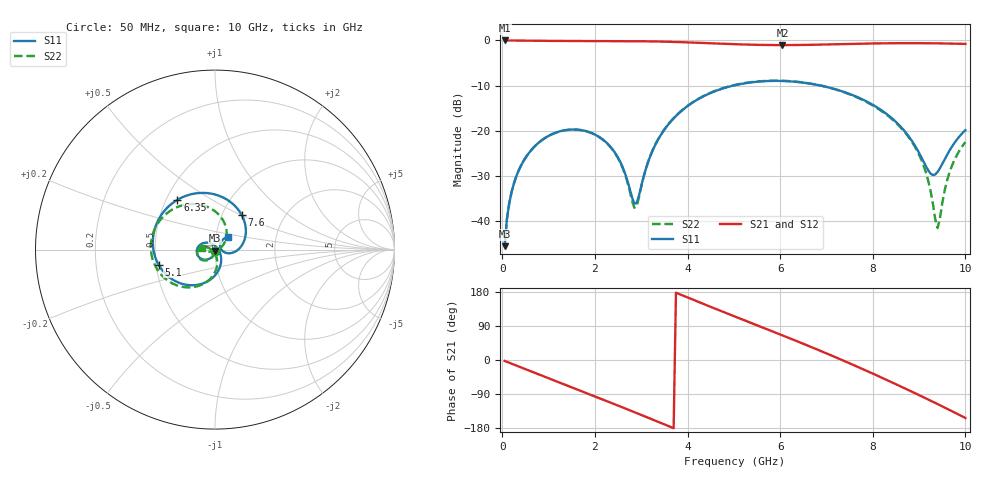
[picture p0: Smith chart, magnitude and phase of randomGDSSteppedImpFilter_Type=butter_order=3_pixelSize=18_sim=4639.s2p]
! freq	dB(S11)	phase(S11)	dB(S12)	phase(S12)
!  dB(S21)	phase(S21)	dB(S22)	phase(S22)
!S-par simulation data
#  GHz  S  DB  R 50
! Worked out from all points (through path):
!   200 points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, 50 MHz to 10 GHz, reference 50 ohm
!   highest |S21| = 0.00 dB at 50 MHz (marker M1); lowest = -1.0 dB at 6.05 GHz (marker M2)
!   group delay of S21, straight-line fit = 140 ps
!   lowest |S11| = -45.6 dB at 50 MHz (marker M3), VSWR 1.01, Z = 50 - j0.524 ohm
!   |S11| at or under -10 dB: start of sweep to 4.991 GHz; 6.873 GHz to end of sweep
!   |S22| runs from -45.6 to -8.9 dB; largest |S21 - S12| = 0
!   S11 on the Smith chart (normalised r, x): 50 MHz: 1.00, -0.01; 5.1 GHz: 0.52, -0.10; 6.35 GHz: 0.57, +0.36; 7.6 GHz: 1.23, +0.51; 10 GHz: 1.15, +0.16
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0.05  -45.61 -91.9  -0.00 -2.4  -0.00 -2.4  -45.60 -91.6
0.1  -39.61 -94.7  -0.01 -4.9  -0.01 -4.9  -39.60 -94.3
0.2  -33.64 -100.0  -0.02 -9.7  -0.02 -9.7  -33.63 -99.0
0.5  -26.03 -115.6  -0.05 -24.2  -0.05 -24.2  -26.03 -113.1
1.05  -20.90 -144.2  -0.10 -50.5  -0.10 -50.5  -20.90 -138.6
1.75  -19.97 179.2  -0.14 -84.0  -0.14 -84.0  -19.98 -169.3
2.45  -25.15 135.7  -0.15 -117.8  -0.15 -117.8  -25.25 165.7
2.85  -36.16 53.0  -0.17 -137.5  -0.17 -137.5  -37.09 -148.9
3.4  -21.34 -67.9  -0.24 -164.9  -0.24 -164.9  -21.29 -82.2
4.15  -13.50 -113.6  -0.48 157.6  -0.48 157.6  -13.44 -111.8
5.05  -9.86 -162.3  -0.85 113.4  -0.85 113.4  -9.80 -151.0
5.1  -9.75 -165.0  -0.86 111.0  -0.86 111.0  -9.70 -153.1
6.05  -8.99 143.8  -1.03 65.0  -1.03 65.0  -8.94 166.4
6.35  -9.18 127.0  -1.01 50.3  -1.01 50.3  -9.15 153.6
6.7  -9.66 106.9  -0.96 32.8  -0.96 32.8  -9.65 138.7
7.6  -12.27 52.4  -0.75 -14.1  -0.75 -14.1  -12.36 99.7
8.35  -16.71 6.8  -0.62 -55.4  -0.62 -55.4  -16.89 65.7
9.05  -25.92 -14.7  -0.61 -95.6  -0.61 -95.6  -26.49 27.0
9.2  -28.86 -1.4  -0.62 -104.4  -0.62 -104.4  -31.20 12.5
9.4  -29.15 34.9  -0.64 -116.3  -0.64 -116.3  -41.60 -72.9
9.65  -24.54 52.6  -0.68 -131.4  -0.68 -131.4  -29.48 -159.4
10  -19.88 43.9  -0.76 -153.0  -0.76 -153.0  -22.54 174.0
